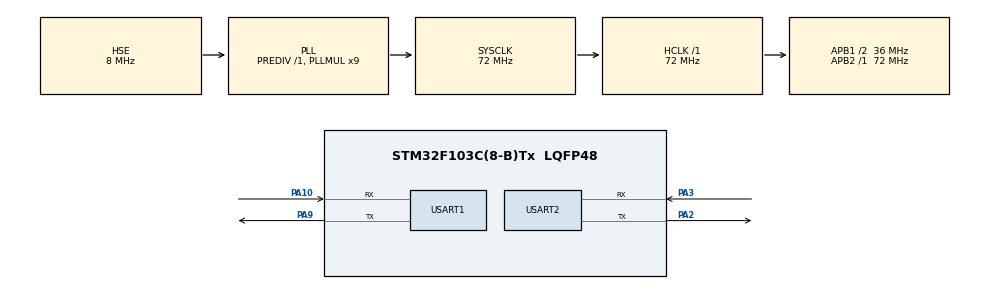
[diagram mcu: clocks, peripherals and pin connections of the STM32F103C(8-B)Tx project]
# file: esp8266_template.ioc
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Dma.Request0=USART2_RX
Dma.Request1=USART2_TX
Dma.USART2_RX.0.Direction=DMA_PERIPH_TO_MEMORY
Dma.USART2_RX.0.Instance=DMA1_Channel6
Dma.USART2_RX.0.MemDataAlignment=DMA_MDATAALIGN_BYTE
Dma.USART2_RX.0.MemInc=DMA_MINC_ENABLE
Dma.USART2_RX.0.Mode=DMA_NORMAL
Dma.USART2_RX.0.PeriphDataAlignment=DMA_PDATAALIGN_BYTE
Dma.USART2_RX.0.PeriphInc=DMA_PINC_DISABLE
Dma.USART2_RX.0.Priority=DMA_PRIORITY_LOW
Dma.USART2_TX.1.Direction=DMA_MEMORY_TO_PERIPH
Dma.USART2_TX.1.Instance=DMA1_Channel7
Dma.USART2_TX.1.MemDataAlignment=DMA_MDATAALIGN_BYTE
Dma.USART2_TX.1.MemInc=DMA_MINC_ENABLE
Dma.USART2_TX.1.Mode=DMA_NORMAL
Dma.USART2_TX.1.PeriphDataAlignment=DMA_PDATAALIGN_BYTE
Dma.USART2_TX.1.PeriphInc=DMA_PINC_DISABLE
Dma.USART2_TX.1.Priority=DMA_PRIORITY_LOW
Mcu.Family=STM32F1
Mcu.Name=STM32F103C(8-B)Tx
Mcu.Package=LQFP48
NVIC.DMA1_Channel6_IRQn=true\:0\:0\:false\:false\:true\:false\:true\:true
NVIC.DMA1_Channel7_IRQn=true\:0\:0\:false\:false\:true\:false\:true\:true
NVIC.PriorityGroup=NVIC_PRIORITYGROUP_4
NVIC.TIM4_IRQn=true\:15\:0\:false\:false\:true\:false\:true\:true
NVIC.TimeBase=TIM4_IRQn
NVIC.TimeBaseIP=TIM4
NVIC.USART1_IRQn=true\:0\:0\:false\:false\:true\:true\:true\:true
NVIC.USART2_IRQn=true\:0\:0\:false\:false\:true\:false\:true\:true
PA10.Mode=Asynchronous
PA10.Signal=USART1_RX
PA13.Mode=Serial_Wire
PA13.Signal=SYS_JTMS-SWDIO
PA14.Mode=Serial_Wire
PA14.Signal=SYS_JTCK-SWCLK
PA2.Mode=Asynchronous
PA2.Signal=USART2_TX
PA3.Mode=Asynchronous
PA3.Signal=USART2_RX
PA9.Mode=Asynchronous
PA9.Signal=USART1_TX
PD0-OSC_IN.Mode=HSE-External-Oscillator
PD0-OSC_IN.Signal=RCC_OSC_IN
PD1-OSC_OUT.Mode=HSE-External-Oscillator
PD1-OSC_OUT.Signal=RCC_OSC_OUT
ProjectManager.HeapSize=0x200
ProjectManager.StackSize=0x400
ProjectManager.TargetToolchain=CMake
RCC.AHBFreq_Value=72000000
RCC.APB1CLKDivider=RCC_HCLK_DIV2
RCC.APB1Freq_Value=36000000
RCC.APB1TimFreq_Value=72000000
RCC.APB2Freq_Value=72000000
RCC.APB2TimFreq_Value=72000000
RCC.HCLKFreq_Value=72000000
RCC.PLLMUL=RCC_PLL_MUL9
RCC.PLLSourceVirtual=RCC_PLLSOURCE_HSE
RCC.SYSCLKFreq_VALUE=72000000
RCC.SYSCLKSource=RCC_SYSCLKSOURCE_PLLCLK
RCC.USBFreq_Value=72000000
USART1.VirtualMode=VM_ASYNC
USART2.VirtualMode=VM_ASYNC
VP_SYS_VS_tim4.Mode=TIM4
board=custom

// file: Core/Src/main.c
/* USER CODE BEGIN Header */
/**
  ******************************************************************************
  * @file           : main.c
  * @brief          : Main program body
  ******************************************************************************
  * @attention
  *
  * Copyright (c) 2026 STMicroelectronics.
  * All rights reserved.
  *
  * This software is licensed under terms that can be found in the LICENSE file
  * in the root directory of this software component.
  * If no LICENSE file comes with this software, it is provided AS-IS.
  *
  ******************************************************************************
  */
/* USER CODE END Header */
#include "main.h"

#include <stdio.h>
#include <string.h>

#include "dma.h"
#include "usart.h"
#include "gpio.h"

/* USER CODE BEGIN Includes */
#include "esp8266.h"
/* USER CODE END Includes */

/* USER CODE BEGIN PTD */
// int fputc(int ch, FILE *f)
// {
//   HAL_UART_Transmit(&huart1, (uint8_t*)&ch, 1, HAL_MAX_DELAY);
//   return ch;
// }

/* GCC(newlib): printf goes through __io_putchar, redirect it to USART1 */
int __io_putchar(int ch)
{
  HAL_UART_Transmit(&huart1, (uint8_t *)&ch, 1, HAL_MAX_DELAY);
  return ch;
}
/* USER CODE END PTD */

void SystemClock_Config(void);

/* USER CODE BEGIN 0 */
/* ========== Modify these to your own configuration ========== */
#define WIFI_SSID       "your_wifi_name"        /* WiFi SSID */
#define WIFI_PASSWORD   "your_wifi_password"    /* WiFi password */
#define TCP_SERVER_IP   "192.168.1.100"         /* TCP server IP (same LAN as ESP8266) */
#define TCP_SERVER_PORT 8080                    /* TCP server port */
/* ========================================================== */
/* USER CODE END 0 */

int main(void)
{

  /* MCU Configuration--------------------------------------------------------*/

  /* Reset of all peripherals, Initializes the Flash interface and the Systick. */
  HAL_Init();

  /* Configure the system clock */
  SystemClock_Config();

  /* Initialize all configured peripherals */
  MX_GPIO_Init();
  MX_DMA_Init();
  MX_USART1_UART_Init();
  MX_USART2_UART_Init();
  /* USER CODE BEGIN 2 */
  ESP8266_Init();
  printf("ESP8266 STA mode init...\r\n");

  /* Step1: enter STA mode (restart required) */
  if (ESP8266_SetSTAMode() == ESP8266_OK)
    printf("Step1 STA mode OK\r\n");
  else
    printf("Step1 STA mode FAIL\r\n");

  /* Step2: single connection */
  if (ESP8266_SetSingleConnection() == ESP8266_OK)
    printf("Step2 single connection OK\r\n");
  else
    printf("Step2 single connection FAIL\r\n");

  /* Step3: connect WiFi (module and server must be in the same LAN) */
  if (ESP8266_ConnectWiFi(WIFI_SSID, WIFI_PASSWORD) == ESP8266_OK)
    printf("Step3 WiFi connected\r\n");
  else
    printf("Step3 WiFi connect FAIL\r\n");

  /* Step4: query IP (optional) */
  if (ESP8266_GetIP() == ESP8266_OK)
  {
    /* Use one printf for label + content: printf line-buffers stdout, so a
       label without '\n' is flushed later and would appear AFTER the content */
    printf("Step4 IP: %s\r\n", (char *)g_esp8266_rx.buf);
  }
  else
    printf("Step4 get IP FAIL\r\n");

  /* Step5: connect TCP server */
  if (ESP8266_ConnectTCPServer(TCP_SERVER_IP, TCP_SERVER_PORT) == ESP8266_OK)
    printf("Step5 TCP connected\r\n");
  else
    printf("Step5 TCP connect FAIL\r\n");

  /* Step6: enable transparent mode */
  if (ESP8266_EnableTransparent() == ESP8266_OK)
    printf("Step6 transparent mode OK, start sending...\r\n");
  else
    printf("Step6 transparent mode FAIL\r\n");
  /* USER CODE END 2 */

  /* Infinite loop */
  while (1)
  {

    /* USER CODE BEGIN 3 */
    /* In transparent mode, data sent to USART2 goes straight to the TCP server */
    ESP8266_SendData("Hello from STM32\r\n");
    HAL_Delay(1000);

  }
  /* USER CODE END 3 */
}

void SystemClock_Config(void)
{
  RCC_OscInitTypeDef RCC_OscInitStruct = {0};
  RCC_ClkInitTypeDef RCC_ClkInitStruct = {0};

  /** Initializes the RCC Oscillators according to the specified parameters
  * in the RCC_OscInitTypeDef structure.
  */
  RCC_OscInitStruct.OscillatorType = RCC_OSCILLATORTYPE_HSE;
  RCC_OscInitStruct.HSEState = RCC_HSE_ON;
  RCC_OscInitStruct.HSEPredivValue = RCC_HSE_PREDIV_DIV1;
  RCC_OscInitStruct.HSIState = RCC_HSI_ON;
  RCC_OscInitStruct.PLL.PLLState = RCC_PLL_ON;
  RCC_OscInitStruct.PLL.PLLSource = RCC_PLLSOURCE_HSE;
  RCC_OscInitStruct.PLL.PLLMUL = RCC_PLL_MUL9;
  if (HAL_RCC_OscConfig(&RCC_OscInitStruct) != HAL_OK)
  {
    Error_Handler();
  }

  /** Initializes the CPU, AHB and APB buses clocks
  */
  RCC_ClkInitStruct.ClockType = RCC_CLOCKTYPE_HCLK|RCC_CLOCKTYPE_SYSCLK
                              |RCC_CLOCKTYPE_PCLK1|RCC_CLOCKTYPE_PCLK2;
  RCC_ClkInitStruct.SYSCLKSource = RCC_SYSCLKSOURCE_PLLCLK;
  RCC_ClkInitStruct.AHBCLKDivider = RCC_SYSCLK_DIV1;
  RCC_ClkInitStruct.APB1CLKDivider = RCC_HCLK_DIV2;
  RCC_ClkInitStruct.APB2CLKDivider = RCC_HCLK_DIV1;

  if (HAL_RCC_ClockConfig(&RCC_ClkInitStruct, FLASH_LATENCY_2) != HAL_OK)
  {
    Error_Handler();
  }
}

void HAL_TIM_PeriodElapsedCallback(TIM_HandleTypeDef *htim)
{
  if (htim->Instance == TIM4)
  {
    HAL_IncTick();
  }
}

void Error_Handler(void)
{
  __disable_irq();
  while (1)
  {
  }
}
